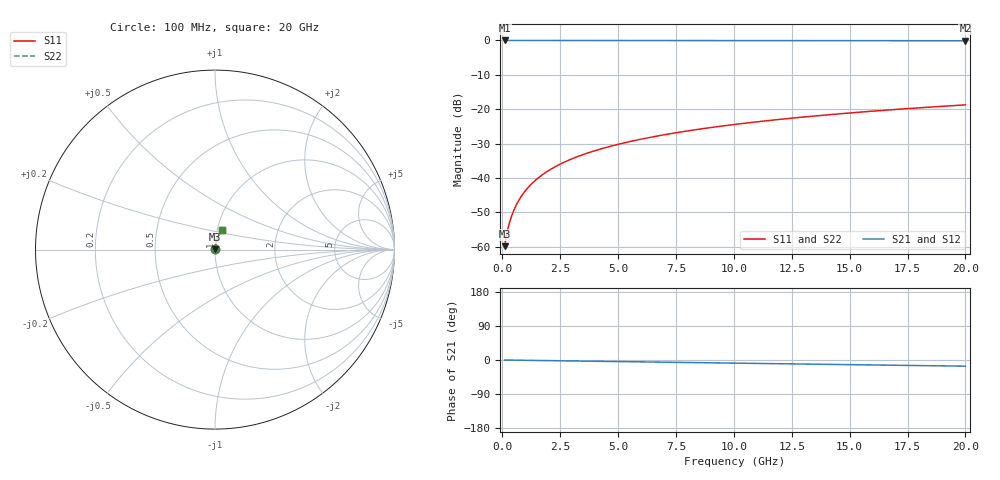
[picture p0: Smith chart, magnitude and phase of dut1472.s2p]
! Touchstone file exported from HFSS 2026.1.0
!  File:  C:/ffzhzh/LocalFiles/Ansys_Project_Files/temp_train_BSMRDL_1472_1783181135_18472.aedt
!  Generated:  12:06:46 AM Jul  5, 2026
!  Design:  BSMRDL
!  Project:  temp_train_BSMRDL_1472_1783181135_18472
! Variables:
!  h_bsmrdl = 5.7um
!  h_ox = 20um
!  h_rdl = 5um
!  h_sub = 80um
!  h_tmrdl = 5um
!  h_tsv = 80um
!  h_via = 3um
!  l_bsmrdl = 237.1um
!  l_sub = 637.1um
!  l_tmrdl = 200um
!  m_sub = 200um
!  pitch = 46.25um
!  r_tsv = 6um
!  s_tmrdl = 10um
!  w_bsmrdl = 27.92um
!  w_sub = 500um
!  w_tmrdl = 12um
!  x_tsv_center1 = 206um
!  x_tsv_center2 = 471.02um
!  x_tsv_center3 = 683.02um
!  x_tsv_center4 = 948.04um
!  x_tsv_center5 = 1160.04um
!  x_tsv_center6 = 1425.06um
# GHz S MA R 50.000000
! Terminal data exported
! Port[1] = BSM_RDL1_1_T1
! Port[2] = BSM_RDL1_1_T2
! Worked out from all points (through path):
!   200 points, 100 MHz to 20 GHz, reference 50 ohm
!   highest |S21| = -0.01 dB at 100 MHz (marker M1); lowest = -0.1 dB at 20 GHz (marker M2)
!   group delay of S21, straight-line fit = 2.26 ps
!   lowest |S11| = -59.9 dB at 100 MHz (marker M3), VSWR 1.00, Z = 50.1 + j0.0735 ohm
!   |S11| at or under -10 dB: start of sweep to end of sweep
!   |S22| runs from -59.9 to -18.7 dB; largest |S21 - S12| = 5.4e-15
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0.1  0.001016 46.2  0.9993 -0.1  0.9993 -0.1  0.001016 46.2
! Gamma 0 0 0 0
! Port Impedance 50 0 50 0
0.2  0.001585 60.7  0.9992 -0.2  0.9992 -0.2  0.001585 60.7
0.3  0.002172 67.9  0.9992 -0.3  0.9992 -0.3  0.002171 67.9
0.4  0.002774 72.2  0.9991 -0.3  0.9991 -0.3  0.002774 72.2
0.5  0.003389 75.0  0.9991 -0.4  0.9991 -0.4  0.003389 75.0
0.6  0.004011 77.0  0.9991 -0.5  0.9991 -0.5  0.00401 77.0
0.8  0.005266 79.4  0.999 -0.7  0.999 -0.7  0.005266 79.4
1.1  0.007159 81.2  0.999 -0.9  0.999 -0.9  0.007159 81.2
1.3  0.00842 81.9  0.9989 -1.1  0.9989 -1.1  0.00842 81.9
1.5  0.009676 82.3  0.9988 -1.3  0.9988 -1.3  0.009676 82.3
1.8  0.01155 82.6  0.9987 -1.5  0.9987 -1.5  0.01155 82.6
2.1  0.01341 82.7  0.9986 -1.8  0.9986 -1.8  0.01341 82.7
2.7  0.01709 82.7  0.9984 -2.3  0.9984 -2.3  0.01709 82.7
3.5  0.02192 82.4  0.998 -2.9  0.998 -2.9  0.02192 82.4
4.2  0.02609 82.1  0.9977 -3.5  0.9977 -3.5  0.02609 82.1
5  0.03081 81.7  0.9973 -4.2  0.9973 -4.2  0.03081 81.7
6.8  0.04132 80.7  0.9965 -5.6  0.9965 -5.6  0.04132 80.7
8.3  0.05 79.7  0.9958 -6.9  0.9958 -6.9  0.05 79.7
10.1  0.06035 78.6  0.9949 -8.3  0.9949 -8.3  0.06035 78.6
13.4  0.07908 76.2  0.9931 -11.0  0.9931 -11.0  0.07908 76.2
16.7  0.0975 73.8  0.991 -13.7  0.991 -13.7  0.09749 73.8
20  0.1156 71.4  0.9887 -16.3  0.9887 -16.3  0.1156 71.4
